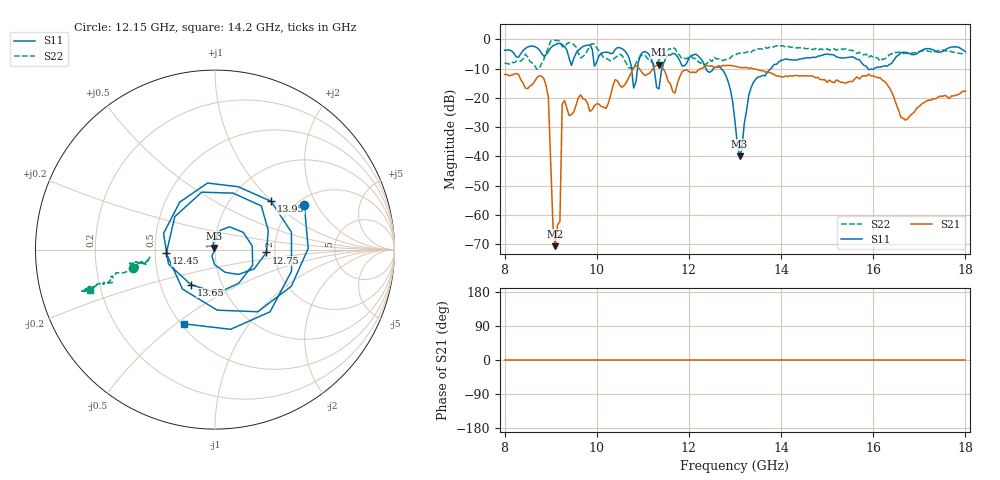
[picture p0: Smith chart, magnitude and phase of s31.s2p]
#  HZ  S  DB  R  50.00
! Rohde & Schwarz ZVA67 4Ports - Version 4.11 - 1305.7002k04 SN: 101038
! Date: 2024-04-08 01:25:01
! Measurements: S11 S21 S12 S22
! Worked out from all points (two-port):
!   201 points, 8 GHz to 18 GHz, reference 50 ohm
!   highest |S21| = -8.71 dB at 11.35 GHz (marker M1); lowest = -70.7 dB at 9.1 GHz (marker M2)
!   |S21| within 3 dB of the highest: 11.13 GHz to 11.5 GHz (371 MHz wide, 3.28 % of centre); 11.83 GHz to 13.81 GHz (1.977 GHz wide, 15.4 % of centre)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
!   lowest |S11| = -39.9 dB at 13.1 GHz (marker M3), VSWR 1.02, Z = 49.5 + j0.844 ohm
!   |S11| at or under -10 dB: 11.24 GHz to 11.42 GHz (177.3 MHz wide, 1.56 % of centre); 12.37 GHz to 12.53 GHz (165.9 MHz wide, 1.33 % of centre); 12.7 GHz to 13.78 GHz (1.078 GHz wide, 8.15 % of centre)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
!   |S22| runs from -10.2 to -0.4 dB; largest |S21 - S12| = 0.37
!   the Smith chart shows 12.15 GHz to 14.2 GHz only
!   S11 on the Smith chart (normalised r, x): 12.15 GHz: 2.19, +1.59; 12.45 GHz: 0.57, -0.03; 12.75 GHz: 1.80, -0.06; 13.65 GHz: 0.71, -0.29; 13.95 GHz: 1.52, +0.99; 14.2 GHz: 0.52, -0.54
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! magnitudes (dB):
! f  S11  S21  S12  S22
! 8 GHz  -3.7  -12.0  -  -8.2
! 8.9 GHz  -5.3  -15.8  -  -4.7
! 9.1 GHz  -1.8  -70.7  -  -0.4
! 9.2 GHz  -1.4  -62.3  -  -0.5
! 9.25 GHz  -1.8  -22.2  -  -2.5
! 9.7 GHz  -2.5  -20.3  -  -5.9
! 10.8 GHz  -16.6  -9.7  -  -9.9
! 11.05 GHz  -4.2  -12.4  -  -5.5
! 11.35 GHz  -17.0  -8.7  -  -7.1
! 12.15 GHz  -5.1  -11.4  -  -6.6
! 12.45 GHz  -11.3  -9.2  -  -7.0
! 12.75 GHz  -10.8  -8.9  -  -7.3
! 13 GHz  -28.1  -9.2  -  -5.5
! 13.1 GHz  -39.9  -9.6  -  -4.8
! 13.35 GHz  -16.5  -9.8  -  -4.4
! 13.65 GHz  -12.5  -11.2  -  -2.7
! 13.95 GHz  -7.7  -12.5  -  -2.5
! 14.2 GHz  -7.0  -12.5  -  -2.7
! 14.7 GHz  -6.1  -12.6  -  -3.5
! 16.35 GHz  -8.6  -16.6  -  -5.2
! 16.7 GHz  -4.5  -27.6  -  -4.8
! 18 GHz  -4.2  -17.7  -  -4.7
